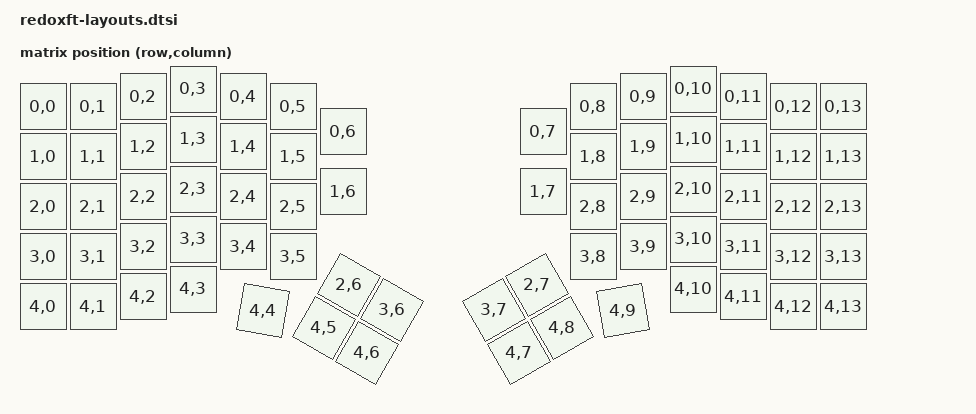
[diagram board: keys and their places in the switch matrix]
/*
 * Redox FT — matrix transform + physical layout (70 keys)
 * Included by: redoxft.dtsi (left/right) + redoxft_dongle.overlay (dongle)
 * SPDX-License-Identifier: MIT
 */

#include <dt-bindings/zmk/matrix_transform.h>
#include <physical_layouts.dtsi>

/ {
    chosen {
        zmk,physical-layout = &redoxft_physical_layout;
    };

    /*
     * Mapowanie matrycy: 70 klawiszy
     * Kolumny 0-6  = lewa połówka
     * Kolumny 7-13 = prawa połówka (col-offset = <7> w right.overlay)
     */
    default_transform: keymap_transform_0 {
        compatible = "zmk,matrix-transform";
        columns = <14>;
        rows = <5>;
        map = <
RC(0,0) RC(0,1) RC(0,2) RC(0,3) RC(0,4) RC(0,5)                                   RC(0,8) RC(0,9)  RC(0,10) RC(0,11) RC(0,12) RC(0,13)
RC(1,0) RC(1,1) RC(1,2) RC(1,3) RC(1,4) RC(1,5) RC(0,6)               RC(0,7) RC(1,8) RC(1,9)  RC(1,10) RC(1,11) RC(1,12) RC(1,13)
RC(2,0) RC(2,1) RC(2,2) RC(2,3) RC(2,4) RC(2,5) RC(1,6)               RC(1,7) RC(2,8) RC(2,9)  RC(2,10) RC(2,11) RC(2,12) RC(2,13)
RC(3,0) RC(3,1) RC(3,2) RC(3,3) RC(3,4) RC(3,5) RC(2,6) RC(3,6)   RC(3,7) RC(2,7) RC(3,8) RC(3,9)  RC(3,10) RC(3,11) RC(3,12) RC(3,13)
RC(4,0) RC(4,1) RC(4,2) RC(4,3)      RC(4,4)    RC(4,5) RC(4,6)   RC(4,7) RC(4,8)     RC(4,9)    RC(4,10) RC(4,11) RC(4,12) RC(4,13)
        >;
    };

    redoxft_physical_layout: redoxft_physical_layout {
        compatible = "zmk,physical-layout";
        display-name = "Default";
        transform = <&default_transform>;

        keys  //                     w   h    x    y     rot    rx    ry
            = <&key_physical_attrs 100 100    0   35       0     0     0>
            , <&key_physical_attrs 100 100  100   35       0     0     0>
            , <&key_physical_attrs 100 100  200   15       0     0     0>
            , <&key_physical_attrs 100 100  300    0       0     0     0>
            , <&key_physical_attrs 100 100  400   15       0     0     0>
            , <&key_physical_attrs 100 100  500   35       0     0     0>
            , <&key_physical_attrs 100 100 1100   35       0     0     0>
            , <&key_physical_attrs 100 100 1200   15       0     0     0>
            , <&key_physical_attrs 100 100 1300    0       0     0     0>
            , <&key_physical_attrs 100 100 1400   15       0     0     0>
            , <&key_physical_attrs 100 100 1500   35       0     0     0>
            , <&key_physical_attrs 100 100 1600   35       0     0     0>
            , <&key_physical_attrs 100 100    0  135       0     0     0>
            , <&key_physical_attrs 100 100  100  135       0     0     0>
            , <&key_physical_attrs 100 100  200  115       0     0     0>
            , <&key_physical_attrs 100 100  300  100       0     0     0>
            , <&key_physical_attrs 100 100  400  115       0     0     0>
            , <&key_physical_attrs 100 100  500  135       0     0     0>
            , <&key_physical_attrs 100 100  600   85       0     0     0>
            , <&key_physical_attrs 100 100 1000   85       0     0     0>
            , <&key_physical_attrs 100 100 1100  135       0     0     0>
            , <&key_physical_attrs 100 100 1200  115       0     0     0>
            , <&key_physical_attrs 100 100 1300  100       0     0     0>
            , <&key_physical_attrs 100 100 1400  115       0     0     0>
            , <&key_physical_attrs 100 100 1500  135       0     0     0>
            , <&key_physical_attrs 100 100 1600  135       0     0     0>
            , <&key_physical_attrs 100 100    0  235       0     0     0>
            , <&key_physical_attrs 100 100  100  235       0     0     0>
            , <&key_physical_attrs 100 100  200  215       0     0     0>
            , <&key_physical_attrs 100 100  300  200       0     0     0>
            , <&key_physical_attrs 100 100  400  215       0     0     0>
            , <&key_physical_attrs 100 100  500  235       0     0     0>
            , <&key_physical_attrs 100 100  600  205       0     0     0>
            , <&key_physical_attrs 100 100 1000  205       0     0     0>
            , <&key_physical_attrs 100 100 1100  235       0     0     0>
            , <&key_physical_attrs 100 100 1200  215       0     0     0>
            , <&key_physical_attrs 100 100 1300  200       0     0     0>
            , <&key_physical_attrs 100 100 1400  215       0     0     0>
            , <&key_physical_attrs 100 100 1500  235       0     0     0>
            , <&key_physical_attrs 100 100 1600  235       0     0     0>
            , <&key_physical_attrs 100 100    0  335       0     0     0>
            , <&key_physical_attrs 100 100  100  335       0     0     0>
            , <&key_physical_attrs 100 100  200  315       0     0     0>
            , <&key_physical_attrs 100 100  300  300       0     0     0>
            , <&key_physical_attrs 100 100  400  315       0     0     0>
            , <&key_physical_attrs 100 100  500  335       0     0     0>
            , <&key_physical_attrs 100 100  600  335    3000   550   435>
            , <&key_physical_attrs 100 100  700  335    3000   550   435>
            , <&key_physical_attrs 100 100  900  335 (-3000)  1150   435>
            , <&key_physical_attrs 100 100 1000  335 (-3000)  1150   435>
            , <&key_physical_attrs 100 100 1100  335       0     0     0>
            , <&key_physical_attrs 100 100 1200  315       0     0     0>
            , <&key_physical_attrs 100 100 1300  300       0     0     0>
            , <&key_physical_attrs 100 100 1400  315       0     0     0>
            , <&key_physical_attrs 100 100 1500  335       0     0     0>
            , <&key_physical_attrs 100 100 1600  335       0     0     0>
            , <&key_physical_attrs 100 100    0  435       0     0     0>
            , <&key_physical_attrs 100 100  100  435       0     0     0>
            , <&key_physical_attrs 100 100  200  415       0     0     0>
            , <&key_physical_attrs 100 100  300  400       0     0     0>
            , <&key_physical_attrs 100 100  450  435    1000   450   435>
            , <&key_physical_attrs 100 100  600  435    3000   550   435>
            , <&key_physical_attrs 100 100  700  435    3000   550   435>
            , <&key_physical_attrs 100 100  900  435 (-3000)  1150   435>
            , <&key_physical_attrs 100 100 1000  435 (-3000)  1150   435>
            , <&key_physical_attrs 100 100 1150  435 (-1000)  1250   435>
            , <&key_physical_attrs 100 100 1300  400       0     0     0>
            , <&key_physical_attrs 100 100 1400  415       0     0     0>
            , <&key_physical_attrs 100 100 1500  435       0     0     0>
            , <&key_physical_attrs 100 100 1600  435       0     0     0>
            ;
    };
};
